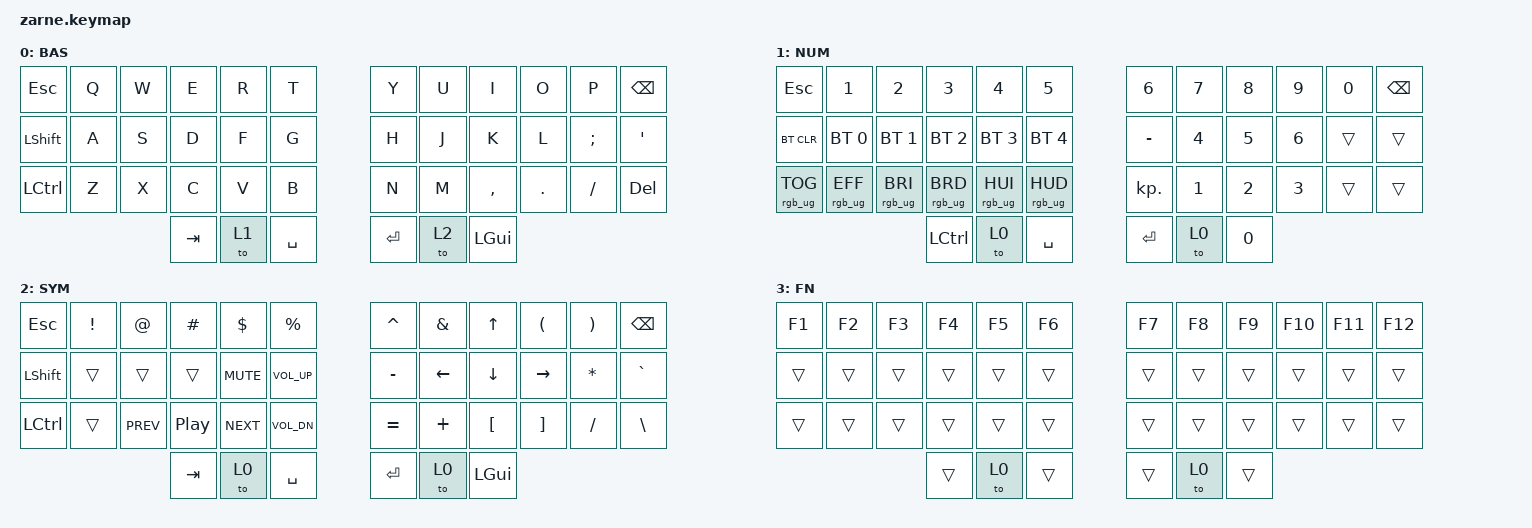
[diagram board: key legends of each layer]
/*
 * Copyright (c) 2020 The ZMK Contributors
 *
 * SPDX-License-Identifier: MIT
 */

#include <behaviors.dtsi>
#include <dt-bindings/zmk/bt.h>
#include <dt-bindings/zmk/keys.h>
#include <dt-bindings/zmk/rgb.h>

/ {
//    combos {
//        compatible = "zmk,combos";
//
//        Both {
//            bindings = <&fix 0 3>;
//            key-positions = <37 40>;
//            layers = <0 2 3 1>;
//        };
//
//        Alt {
//            bindings = <&kp LEFT_ALT>;
//            key-positions = <40 41>;
//            layers = <0 2 3 1>;
//        };
//    };
//
//    behaviors {
//        Raise: Raise {
//            compatible = "zmk,behavior-hold-tap";
//            label = "RAISE";
//            bindings = <&mo>, <&to>;
//
//            #binding-cells = <2>;
//            tapping-term-ms = <200>;
//            hold-while-undecided;
//        };

//        Lower: Lower {
//            compatible = "zmk,behavior-hold-tap";
//            label = "LOWER";
//            bindings = <&mo>, <&to>;

//            #binding-cells = <2>;
//            tapping-term-ms = <200>;
//            flavor = "balanced";
//            hold-while-undecided;
//        };
//
//        fix: fix {
//            compatible = "zmk,behavior-hold-tap";
//            label = "FIX";
//            bindings = <&to>, <&to>;
//
//            #binding-cells = <2>;
//            tapping-term-ms = <200>;
//            flavor = "balanced";
//        };
//    };

    keymap {
        compatible = "zmk,keymap";
        display-name = "BAS";

        BAS {
            // -----------------------------------------------------------------------------------------
            // |  TAB |  Q  |  W  |  E  |  R  |  T  |   |  Y  |  U   |  I  |  O  |  P  | BSPC |
            // | CTRL |  A  |  S  |  D  |  F  |  G  |   |  H  |  J   |  K  |  L  |  ;  |  '   |
            // | SHFT |  Z  |  X  |  C  |  V  |  B  |   |  N  |  M   |  ,  |  .  |  /  | ESC  |
            //                    | GUI | LWR | SPC |   | ENT | RSE  | ALT |

            bindings = <
&kp ESC    &kp Q  &kp W  &kp E    &kp R       &kp T        &kp Y    &kp U       &kp I         &kp O    &kp P     &kp BSPC
&kp LSHFT  &kp A  &kp S  &kp D    &kp F       &kp G        &kp H    &kp J       &kp K         &kp L    &kp SEMI  &kp SQT
&kp LCTRL  &kp Z  &kp X  &kp C    &kp V       &kp B        &kp N    &kp M       &kp COMMA     &kp DOT  &kp FSLH  &kp DEL
                         &kp TAB  &to 1       &kp SPACE    &kp RET  &to 2       &kp LEFT_GUI
            >;
        };

        NUM {
            display-name = "NUM";

            // -----------------------------------------------------------------------------------------
            // |  TAB |  1  |  2  |  3  |  4  |  5  |   |  6  |  7  |  8  |  9  |  0  | BSPC |
            // | BTCLR| BT1 | BT2 | BT3 | BT4 | BT5 |   | LFT | DWN |  UP | RGT |     |      |
            // | SHFT |     |     |     |     |     |   |     |     |     |     |     |      |
            //                    | GUI |     | SPC |   | ENT |     | ALT |

            bindings = <
&kp ESCAPE       &kp N1           &kp N2           &kp N3           &kp N4           &kp N5             &kp N6      &kp N7      &kp N8  &kp N9  &kp N0  &kp BSPC
&bt BT_CLR       &bt BT_SEL 0     &bt BT_SEL 1     &bt BT_SEL 2     &bt BT_SEL 3     &bt BT_SEL 4       &kp MINUS   &kp N4      &kp N5  &kp N6  &trans  &trans
&rgb_ug RGB_TOG  &rgb_ug RGB_EFF  &rgb_ug RGB_BRI  &rgb_ug RGB_BRD  &rgb_ug RGB_HUI  &rgb_ug RGB_HUD    &kp KP_DOT  &kp N1      &kp N2  &kp N3  &trans  &trans
                                                   &kp LCTRL        &to 0            &kp SPACE          &kp RET     &to 0       &kp N0
            >;
        };

        SYM {
            display-name = "SYM";

            // -----------------------------------------------------------------------------------------
            // |  TAB |  !  |  @  |  #  |  $  |  %  |   |  ^  |  &  |  *  |  (  |  )  | BSPC |
            // | CTRL |     |     |     |     |     |   |  -  |  =  |  [  |  ]  |  \  |  `   |
            // | SHFT |     |     |     |     |     |   |  _  |  +  |  {  |  }  | "|" |  ~   |
            //                    | GUI |     | SPC |   | ENT |     | ALT |

            bindings = <
&kp ESC    &kp EXCL  &kp AT      &kp HASH  &kp DLLR    &kp PRCNT       &kp CARET  &kp AMPS  &kp UP            &kp LPAR           &kp RPAR      &kp BSPC
&kp LSHFT  &trans    &trans      &trans    &kp C_MUTE  &kp C_VOL_UP    &kp MINUS  &kp LEFT  &kp DOWN          &kp RIGHT          &kp ASTERISK  &kp GRAVE
&kp LCTRL  &trans    &kp C_PREV  &kp C_PP  &kp C_NEXT  &kp C_VOL_DN    &kp EQUAL  &kp PLUS  &kp LEFT_BRACKET  &kp RIGHT_BRACKET  &kp SLASH     &kp BSLH
                                 &kp TAB   &to 0       &kp SPACE       &kp RET    &to 0     &kp LEFT_GUI
            >;
        };

        FN {
            display-name = "FN";
            bindings = <
&kp F1  &kp F2  &kp F3  &kp F4  &kp F5  &kp F6    &kp F7  &kp F8  &kp F9  &kp F10  &kp F11  &kp F12
&trans  &trans  &trans  &trans  &trans  &trans    &trans  &trans  &trans  &trans   &trans   &trans
&trans  &trans  &trans  &trans  &trans  &trans    &trans  &trans  &trans  &trans   &trans   &trans
                        &trans  &to 0   &trans    &trans  &to 0   &trans
            >;
        };
    };
};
